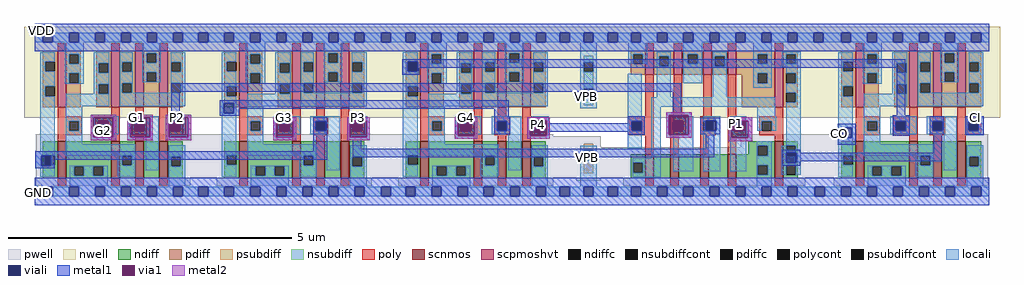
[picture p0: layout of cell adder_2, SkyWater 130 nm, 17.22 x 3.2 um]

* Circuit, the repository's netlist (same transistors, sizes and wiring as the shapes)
* NGSPICE file created from adder_2.ext - technology: sky130A

.subckt sky130_fd_sc_hd__a21o_1 A1 A2 B1 VGND VNB VPB VPWR X
X0 a_81_21# B1 VGND VNB sky130_fd_pr__nfet_01v8 ad=0.0894 pd=0.925 as=0.229 ps=1.57 w=0.65 l=0.15
**devattr s=10270,288 d=3575,185
X1 a_299_297# B1 a_81_21# VPB sky130_fd_pr__pfet_01v8_hvt ad=0.18 pd=1.69 as=0.26 ps=2.52 w=1 l=0.15
**devattr s=10400,504 d=5500,255
X2 VPWR a_81_21# X VPB sky130_fd_pr__pfet_01v8_hvt ad=0.18 pd=1.69 as=0.26 ps=2.52 w=1 l=0.15
**devattr s=10400,504 d=10400,504
X3 VPWR A1 a_299_297# VPB sky130_fd_pr__pfet_01v8_hvt ad=0.18 pd=1.69 as=0.18 ps=1.69 w=1 l=0.15
**devattr s=5500,255 d=5600,256
X4 VGND a_81_21# X VNB sky130_fd_pr__nfet_01v8 ad=0.229 pd=1.57 as=0.169 ps=1.82 w=0.65 l=0.15
**devattr s=6760,364 d=10270,288
X5 VGND A2 a_384_47# VNB sky130_fd_pr__nfet_01v8 ad=0.229 pd=1.57 as=0.091 ps=0.93 w=0.65 l=0.15
**devattr s=3640,186 d=6890,366
X6 a_299_297# A2 VPWR VPB sky130_fd_pr__pfet_01v8_hvt ad=0.18 pd=1.69 as=0.18 ps=1.69 w=1 l=0.15
**devattr s=5600,256 d=10600,506
X7 a_384_47# A1 a_81_21# VNB sky130_fd_pr__nfet_01v8 ad=0.091 pd=0.93 as=0.0894 ps=0.925 w=0.65 l=0.15
**devattr s=3575,185 d=3640,186
.ends

.subckt sky130_fd_sc_hd__and4_1 A B C D VGND VNB VPB VPWR X
X0 a_27_47# C VPWR VPB sky130_fd_pr__pfet_01v8_hvt ad=0.0662 pd=0.735 as=0.139 ps=0.987 w=0.42 l=0.15
**devattr s=3108,158 d=2352,140
X1 a_197_47# B a_109_47# VNB sky130_fd_pr__nfet_01v8 ad=0.0798 pd=0.8 as=0.0609 ps=0.71 w=0.42 l=0.15
**devattr s=2436,142 d=3192,160
X2 X a_27_47# VPWR VPB sky130_fd_pr__pfet_01v8_hvt ad=0.26 pd=2.52 as=0.332 ps=2.35 w=1 l=0.15
**devattr s=12498,336 d=10400,504
X3 a_303_47# C a_197_47# VNB sky130_fd_pr__nfet_01v8 ad=0.0693 pd=0.75 as=0.0798 ps=0.8 w=0.42 l=0.15
**devattr s=3192,160 d=2772,150
X4 a_27_47# A VPWR VPB sky130_fd_pr__pfet_01v8_hvt ad=0.0662 pd=0.735 as=0.139 ps=0.987 w=0.42 l=0.15
**devattr s=4368,272 d=2940,154
X5 VPWR D a_27_47# VPB sky130_fd_pr__pfet_01v8_hvt ad=0.139 pd=0.987 as=0.0662 ps=0.735 w=0.42 l=0.15
**devattr s=2352,140 d=12498,336
X6 VGND D a_303_47# VNB sky130_fd_pr__nfet_01v8 ad=0.154 pd=1.04 as=0.0693 ps=0.75 w=0.42 l=0.15
**devattr s=2772,150 d=7851,266
X7 VPWR B a_27_47# VPB sky130_fd_pr__pfet_01v8_hvt ad=0.139 pd=0.987 as=0.0662 ps=0.735 w=0.42 l=0.15
**devattr s=2940,154 d=3108,158
X8 X a_27_47# VGND VNB sky130_fd_pr__nfet_01v8 ad=0.169 pd=1.82 as=0.238 ps=1.62 w=0.65 l=0.15
**devattr s=7851,266 d=6760,364
X9 a_109_47# A a_27_47# VNB sky130_fd_pr__nfet_01v8 ad=0.0609 pd=0.71 as=0.109 ps=1.36 w=0.42 l=0.15
**devattr s=4368,272 d=2436,142
.ends

Xsky130_fd_sc_hd__a21o_1_0 G1 P2 G2 SUB SUB VPB VPB sky130_fd_sc_hd__a21o_1_0/X sky130_fd_sc_hd__a21o_1
Xsky130_fd_sc_hd__a21o_1_1 sky130_fd_sc_hd__a21o_1_0/X P3 G3 SUB SUB VPB VPB sky130_fd_sc_hd__a21o_1_1/X
+ sky130_fd_sc_hd__a21o_1
Xsky130_fd_sc_hd__a21o_1_2 sky130_fd_sc_hd__a21o_1_1/X P4 G4 SUB SUB VPB VPB sky130_fd_sc_hd__a21o_1_2/X
+ sky130_fd_sc_hd__a21o_1
Xsky130_fd_sc_hd__a21o_1_3 sky130_fd_sc_hd__and4_1_0/X CI sky130_fd_sc_hd__a21o_1_2/X
+ SUB SUB VPB VPB CO sky130_fd_sc_hd__a21o_1
Xsky130_fd_sc_hd__and4_1_0 P4 P2 P3 P1 SUB SUB VPB VPB sky130_fd_sc_hd__and4_1_0/X
+ sky130_fd_sc_hd__and4_1
.end

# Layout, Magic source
magic
tech sky130A
magscale 1 2
<< nwell >>
rect -50 269 -47 590
rect 566 269 597 590
rect 1213 269 1238 590
rect 2726 269 2780 590
<< pwell >>
rect 523 56 634 211
rect 1173 56 1273 211
rect 1809 56 1902 203
rect 1982 56 2067 165
rect 2703 56 2810 211
<< locali >>
rect 537 535 564 569
rect 600 535 634 569
rect 1172 535 1210 569
rect 1245 535 1271 569
rect 1812 535 1840 569
rect 1875 535 1897 569
rect 1986 535 2010 569
rect 2045 535 2064 569
rect 2700 535 2736 569
rect 2771 535 2810 569
rect 1300 467 1335 470
rect 1300 435 1305 467
rect 1748 250 1782 257
rect 1748 223 1750 250
rect -10 135 50 150
rect -10 100 10 135
rect 44 100 50 135
rect 2630 145 2685 150
rect 2630 110 2640 145
rect 2675 110 2685 145
rect 2630 100 2685 110
rect -10 90 50 100
rect 527 -9 565 25
rect 600 -9 634 25
rect 1173 -9 1210 25
rect 1245 -9 1272 25
rect 1813 -9 1840 25
rect 1875 -9 1897 25
rect 1982 -9 2010 25
rect 2045 -9 2067 25
rect 2698 -9 2740 25
rect 2776 -9 2809 25
<< viali >>
rect 564 535 600 569
rect 1210 535 1245 569
rect 1840 535 1875 569
rect 2010 535 2045 569
rect 2736 535 2771 569
rect 1305 433 1339 467
rect 655 285 690 320
rect 212 223 246 257
rect 340 223 374 257
rect 468 223 502 257
rect 852 223 886 257
rect 980 223 1014 257
rect 1108 223 1142 257
rect 1492 223 1526 257
rect 1620 223 1654 257
rect 1750 215 1785 250
rect 2095 223 2129 257
rect 2241 223 2275 257
rect 2356 223 2392 258
rect 2456 223 2491 257
rect 2836 198 2871 233
rect 3027 223 3062 257
rect 3156 223 3190 257
rect 3284 223 3318 257
rect 10 100 44 135
rect 2640 110 2675 145
rect 565 -9 600 25
rect 1210 -9 1245 25
rect 1840 -9 1875 25
rect 2010 -9 2045 25
rect 2740 -9 2776 25
<< metal1 >>
rect 534 569 635 600
rect 534 535 564 569
rect 600 535 635 569
rect 534 504 635 535
rect 1175 569 1273 600
rect 1175 535 1210 569
rect 1245 535 1273 569
rect 1175 504 1273 535
rect 1818 569 1897 600
rect 1818 535 1840 569
rect 1875 535 1897 569
rect 1818 504 1897 535
rect 1987 569 2065 600
rect 1987 535 2010 569
rect 2045 535 2065 569
rect 1987 504 2065 535
rect 2698 569 2811 600
rect 2698 535 2736 569
rect 2771 535 2811 569
rect 2698 504 2811 535
rect 1285 467 3060 475
rect 1285 433 1305 467
rect 1339 445 3060 467
rect 1339 433 1345 445
rect 1285 420 1345 433
rect 470 360 2270 390
rect 470 280 500 360
rect 640 320 1660 330
rect 640 285 655 320
rect 690 300 1660 320
rect 690 285 710 300
rect 185 270 275 280
rect 185 200 195 270
rect 265 200 275 270
rect 185 190 275 200
rect 315 270 405 280
rect 315 200 325 270
rect 395 200 405 270
rect 315 190 405 200
rect 450 270 540 280
rect 640 275 710 285
rect 1610 270 1660 300
rect 2240 288 2270 360
rect 2216 278 2306 288
rect 3030 278 3060 445
rect 450 200 460 270
rect 530 200 540 270
rect 450 190 540 200
rect 830 260 910 270
rect 830 200 840 260
rect 900 200 910 260
rect 830 190 910 200
rect 970 257 1020 270
rect 970 223 980 257
rect 1014 223 1020 257
rect 970 150 1020 223
rect 1090 260 1170 270
rect 1090 200 1100 260
rect 1160 200 1170 260
rect 1090 190 1170 200
rect 1470 260 1550 270
rect 1470 205 1480 260
rect 1540 205 1550 260
rect 1610 257 1665 270
rect 1610 223 1620 257
rect 1654 223 1665 257
rect 1610 210 1665 223
rect 1725 260 1805 270
rect 1470 195 1550 205
rect 1725 205 1735 260
rect 1795 250 1805 260
rect 2081 257 2141 273
rect 2081 250 2095 257
rect 1795 223 2095 250
rect 2129 223 2141 257
rect 1795 220 2141 223
rect 1795 205 1805 220
rect 2081 208 2141 220
rect 2216 208 2226 278
rect 2296 208 2306 278
rect 2336 258 2406 268
rect 2336 223 2356 258
rect 2392 223 2406 258
rect 2336 210 2406 223
rect 2435 258 2520 270
rect 1725 195 1805 205
rect 2216 198 2306 208
rect -10 135 1020 150
rect -10 100 10 135
rect 44 120 1020 135
rect 1110 160 1140 190
rect 2355 160 2385 210
rect 2435 198 2446 258
rect 2506 198 2520 258
rect 3016 257 3076 278
rect 2435 185 2520 198
rect 2821 233 2885 248
rect 2821 198 2836 233
rect 2871 198 2885 233
rect 3016 223 3027 257
rect 3062 223 3076 257
rect 3016 205 3076 223
rect 3146 257 3196 273
rect 3146 223 3156 257
rect 3190 223 3196 257
rect 3146 210 3196 223
rect 3271 257 3336 273
rect 3271 223 3284 257
rect 3318 223 3336 257
rect 2821 173 2885 198
rect 1110 130 2385 160
rect 2625 145 2690 155
rect 3160 145 3190 210
rect 3271 208 3336 223
rect 44 100 59 120
rect 2625 110 2640 145
rect 2675 115 3190 145
rect 2675 110 2690 115
rect 2625 100 2690 110
rect -10 90 59 100
rect 533 25 634 56
rect 533 -9 565 25
rect 600 -9 634 25
rect 533 -40 634 -9
rect 1176 25 1272 56
rect 1176 -9 1210 25
rect 1245 -9 1272 25
rect 1176 -40 1272 -9
rect 1818 25 1899 56
rect 1818 -9 1840 25
rect 1875 -9 1899 25
rect 1818 -40 1899 -9
rect 1983 25 2068 56
rect 1983 -9 2010 25
rect 2045 -9 2068 25
rect 1983 -40 2068 -9
rect 2703 25 2810 56
rect 2703 -9 2740 25
rect 2776 -9 2810 25
rect 2703 -40 2810 -9
<< via1 >>
rect 195 257 265 270
rect 195 223 212 257
rect 212 223 246 257
rect 246 223 265 257
rect 195 200 265 223
rect 325 257 395 270
rect 325 223 340 257
rect 340 223 374 257
rect 374 223 395 257
rect 325 200 395 223
rect 460 257 530 270
rect 460 223 468 257
rect 468 223 502 257
rect 502 223 530 257
rect 460 200 530 223
rect 840 257 900 260
rect 840 223 852 257
rect 852 223 886 257
rect 886 223 900 257
rect 840 200 900 223
rect 1100 257 1160 260
rect 1100 223 1108 257
rect 1108 223 1142 257
rect 1142 223 1160 257
rect 1100 200 1160 223
rect 1480 257 1540 260
rect 1480 223 1492 257
rect 1492 223 1526 257
rect 1526 223 1540 257
rect 1480 205 1540 223
rect 1735 250 1795 260
rect 1735 215 1750 250
rect 1750 215 1785 250
rect 1785 215 1795 250
rect 1735 205 1795 215
rect 2226 257 2296 278
rect 2226 223 2241 257
rect 2241 223 2275 257
rect 2275 223 2296 257
rect 2226 208 2296 223
rect 2446 257 2506 258
rect 2446 223 2456 257
rect 2456 223 2491 257
rect 2491 223 2506 257
rect 2446 198 2506 223
<< metal2 >>
rect 185 270 275 280
rect 185 200 195 270
rect 265 200 275 270
rect 185 190 275 200
rect 315 270 405 280
rect 315 200 325 270
rect 395 200 405 270
rect 315 190 405 200
rect 450 270 540 280
rect 2216 278 2306 288
rect 450 200 460 270
rect 530 200 540 270
rect 450 190 540 200
rect 830 260 910 270
rect 830 200 840 260
rect 900 200 910 260
rect 830 190 910 200
rect 1090 260 1170 270
rect 1090 200 1100 260
rect 1160 200 1170 260
rect 1090 190 1170 200
rect 1470 260 1550 270
rect 1470 205 1480 260
rect 1540 205 1550 260
rect 1470 195 1550 205
rect 1725 260 1805 270
rect 1725 205 1735 260
rect 1795 205 1805 260
rect 1725 195 1805 205
rect 2216 208 2226 278
rect 2296 208 2306 278
rect 2216 198 2306 208
rect 2435 258 2520 270
rect 2435 198 2446 258
rect 2506 198 2520 258
rect 2435 185 2520 198
use sky130_fd_sc_hd__a21o_1  sky130_fd_sc_hd__a21o_1_0
transform 1 0 -12 0 1 8
box -38 -48 590 592
use sky130_fd_sc_hd__a21o_1  sky130_fd_sc_hd__a21o_1_1
transform 1 0 628 0 1 8
box -38 -48 590 592
use sky130_fd_sc_hd__a21o_1  sky130_fd_sc_hd__a21o_1_2
transform 1 0 1268 0 1 8
box -38 -48 590 592
use sky130_fd_sc_hd__a21o_1  sky130_fd_sc_hd__a21o_1_3
transform 1 0 2804 0 1 8
box -38 -48 590 592
use sky130_fd_sc_hd__and4_1  sky130_fd_sc_hd__and4_1_0
transform 1 0 2064 0 1 8
box -38 -48 682 592
use sky130_fd_sc_hd__tapvpwrvgnd_1  sky130_fd_sc_hd__tapvpwrvgnd_1_0
transform 1 0 1896 0 1 8
box -38 -48 130 592
<< labels >>
flabel metal2 1130 270 1130 270 1 FreeSans 128 0 0 0 P3
port 6 n
flabel metal1 870 270 870 270 1 FreeSans 128 0 0 0 G3
port 7 n
flabel metal1 1510 270 1510 270 1 FreeSans 128 0 0 0 G4
port 9 n
flabel metal2 490 270 490 270 1 FreeSans 128 0 0 0 P2
port 4 n
flabel metal1 350 270 350 270 1 FreeSans 128 0 0 0 G1
port 3 n
flabel viali 230 225 230 225 1 FreeSans 128 0 0 0 G2
port 5 n
flabel metal1 3306 268 3306 268 1 FreeSans 128 0 0 0 CI
port 1 n
flabel metal1 2826 213 2826 213 1 FreeSans 128 0 0 0 CO
port 10 n
flabel via1 1765 245 1765 245 1 FreeSans 320 0 0 0 P4
port 8 n
flabel via1 2465 250 2465 250 1 FreeSans 160 0 0 0 P1
port 2 n
flabel metal1 s 10 575 10 575 1 FreeSans 320 0 0 0 VDD
port 11 n
flabel metal1 s 0 5 0 5 1 FreeSans 320 0 0 0 GND
port 12 n
flabel locali 1935 345 1935 345 1 FreeSans 320 0 0 0 VPB
flabel locali 1940 130 1940 130 1 FreeSans 320 0 0 0 VPB
<< end >>

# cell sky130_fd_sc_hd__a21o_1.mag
magic
tech sky130A
magscale 1 2
<< nwell >>
rect -38 261 590 582
<< pwell >>
rect 3 21 549 203
rect 29 -17 63 21
<< scnmos >>
rect 81 47 111 177
rect 269 47 299 177
rect 354 47 384 177
rect 440 47 470 177
<< scpmoshvt >>
rect 81 297 111 497
rect 269 297 299 497
rect 354 297 384 497
rect 440 297 470 497
<< ndiff >>
rect 29 129 81 177
rect 29 95 37 129
rect 71 95 81 129
rect 29 47 81 95
rect 111 89 269 177
rect 111 55 139 89
rect 173 55 207 89
rect 241 55 269 89
rect 111 47 269 55
rect 299 127 354 177
rect 299 93 309 127
rect 343 93 354 127
rect 299 47 354 93
rect 384 47 440 177
rect 470 123 523 177
rect 470 89 481 123
rect 515 89 523 123
rect 470 47 523 89
<< pdiff >>
rect 29 459 81 497
rect 29 425 37 459
rect 71 425 81 459
rect 29 371 81 425
rect 29 337 37 371
rect 71 337 81 371
rect 29 297 81 337
rect 111 485 163 497
rect 111 451 121 485
rect 155 451 163 485
rect 111 417 163 451
rect 111 383 121 417
rect 155 383 163 417
rect 111 297 163 383
rect 217 453 269 497
rect 217 419 225 453
rect 259 419 269 453
rect 217 379 269 419
rect 217 345 225 379
rect 259 345 269 379
rect 217 297 269 345
rect 299 457 354 497
rect 299 423 309 457
rect 343 423 354 457
rect 299 383 354 423
rect 299 349 309 383
rect 343 349 354 383
rect 299 297 354 349
rect 384 489 440 497
rect 384 455 395 489
rect 429 455 440 489
rect 384 421 440 455
rect 384 387 395 421
rect 429 387 440 421
rect 384 297 440 387
rect 470 457 523 497
rect 470 423 481 457
rect 515 423 523 457
rect 470 383 523 423
rect 470 349 481 383
rect 515 349 523 383
rect 470 297 523 349
<< ndiffc >>
rect 37 95 71 129
rect 139 55 173 89
rect 207 55 241 89
rect 309 93 343 127
rect 481 89 515 123
<< pdiffc >>
rect 37 425 71 459
rect 37 337 71 371
rect 121 451 155 485
rect 121 383 155 417
rect 225 419 259 453
rect 225 345 259 379
rect 309 423 343 457
rect 309 349 343 383
rect 395 455 429 489
rect 395 387 429 421
rect 481 423 515 457
rect 481 349 515 383
<< poly >>
rect 81 497 111 523
rect 269 497 299 523
rect 354 497 384 523
rect 440 497 470 523
rect 81 265 111 297
rect 269 265 299 297
rect 354 265 384 297
rect 440 265 470 297
rect 81 249 166 265
rect 81 215 122 249
rect 156 215 166 249
rect 81 199 166 215
rect 214 249 299 265
rect 214 215 224 249
rect 258 215 299 249
rect 214 199 299 215
rect 342 249 396 265
rect 342 215 352 249
rect 386 215 396 249
rect 342 199 396 215
rect 440 249 524 265
rect 440 215 480 249
rect 514 215 524 249
rect 440 199 524 215
rect 81 177 111 199
rect 269 177 299 199
rect 354 177 384 199
rect 440 177 470 199
rect 81 21 111 47
rect 269 21 299 47
rect 354 21 384 47
rect 440 21 470 47
<< polycont >>
rect 122 215 156 249
rect 224 215 258 249
rect 352 215 386 249
rect 480 215 514 249
<< locali >>
rect 0 527 29 561
rect 63 527 121 561
rect 155 527 213 561
rect 247 527 305 561
rect 339 527 397 561
rect 431 527 489 561
rect 523 527 552 561
rect 19 459 71 491
rect 19 425 37 459
rect 19 371 71 425
rect 105 485 173 527
rect 105 451 121 485
rect 155 451 173 485
rect 105 417 173 451
rect 105 383 121 417
rect 155 383 173 417
rect 105 381 173 383
rect 209 453 263 491
rect 209 419 225 453
rect 259 419 263 453
rect 19 337 37 371
rect 209 379 263 419
rect 209 345 225 379
rect 259 345 263 379
rect 19 129 71 337
rect 19 95 37 129
rect 109 301 263 345
rect 299 457 345 491
rect 299 423 309 457
rect 343 423 345 457
rect 299 383 345 423
rect 379 489 445 527
rect 379 455 395 489
rect 429 455 445 489
rect 379 421 445 455
rect 379 387 395 421
rect 429 387 445 421
rect 379 385 445 387
rect 479 457 531 491
rect 479 423 481 457
rect 515 423 531 457
rect 299 349 309 383
rect 343 349 345 383
rect 479 383 531 423
rect 479 349 481 383
rect 515 349 531 383
rect 299 301 531 349
rect 109 249 167 301
rect 109 215 122 249
rect 156 215 167 249
rect 109 167 167 215
rect 203 249 296 265
rect 203 215 224 249
rect 258 215 296 249
rect 203 203 296 215
rect 332 249 437 265
rect 332 215 352 249
rect 386 215 437 249
rect 332 203 437 215
rect 109 127 355 167
rect 19 53 71 95
rect 293 93 309 127
rect 343 93 355 127
rect 123 89 257 91
rect 123 55 139 89
rect 173 55 207 89
rect 241 55 257 89
rect 123 17 257 55
rect 293 53 355 93
rect 391 75 437 203
rect 473 249 533 265
rect 473 215 480 249
rect 514 215 533 249
rect 473 199 533 215
rect 473 123 531 163
rect 473 89 481 123
rect 515 89 531 123
rect 473 17 531 89
rect 0 -17 29 17
rect 63 -17 121 17
rect 155 -17 213 17
rect 247 -17 305 17
rect 339 -17 397 17
rect 431 -17 489 17
rect 523 -17 552 17
<< viali >>
rect 29 527 63 561
rect 121 527 155 561
rect 213 527 247 561
rect 305 527 339 561
rect 397 527 431 561
rect 489 527 523 561
rect 29 -17 63 17
rect 121 -17 155 17
rect 213 -17 247 17
rect 305 -17 339 17
rect 397 -17 431 17
rect 489 -17 523 17
<< metal1 >>
rect 0 561 552 592
rect 0 527 29 561
rect 63 527 121 561
rect 155 527 213 561
rect 247 527 305 561
rect 339 527 397 561
rect 431 527 489 561
rect 523 527 552 561
rect 0 496 552 527
rect 0 17 552 48
rect 0 -17 29 17
rect 63 -17 121 17
rect 155 -17 213 17
rect 247 -17 305 17
rect 339 -17 397 17
rect 431 -17 489 17
rect 523 -17 552 17
rect 0 -48 552 -17
<< labels >>
flabel locali s 489 221 523 255 0 FreeSans 200 0 0 0 A2
port 2 nsew signal input
flabel locali s 397 85 431 119 0 FreeSans 200 0 0 0 A1
port 1 nsew signal input
flabel locali s 397 153 431 187 0 FreeSans 200 0 0 0 A1
port 1 nsew signal input
flabel locali s 397 221 431 255 0 FreeSans 200 0 0 0 A1
port 1 nsew signal input
flabel locali s 213 221 247 255 0 FreeSans 200 0 0 0 B1
port 3 nsew signal input
flabel locali s 29 85 63 119 0 FreeSans 200 0 0 0 X
port 8 nsew signal output
flabel locali s 29 425 63 459 0 FreeSans 200 0 0 0 X
port 8 nsew signal output
flabel locali s 29 357 63 391 0 FreeSans 200 0 0 0 X
port 8 nsew signal output
flabel locali s 29 289 63 323 0 FreeSans 200 0 0 0 X
port 8 nsew signal output
flabel locali s 29 221 63 255 0 FreeSans 200 0 0 0 X
port 8 nsew signal output
flabel locali s 29 153 63 187 0 FreeSans 200 0 0 0 X
port 8 nsew signal output
flabel metal1 s 29 527 63 561 0 FreeSans 200 0 0 0 VPWR
port 7 nsew power bidirectional abutment
flabel metal1 s 29 -17 63 17 0 FreeSans 200 0 0 0 VGND
port 4 nsew ground bidirectional abutment
flabel nwell s 29 527 63 561 0 FreeSans 200 0 0 0 VPB
port 6 nsew power bidirectional
flabel pwell s 29 -17 63 17 0 FreeSans 200 0 0 0 VNB
port 5 nsew ground bidirectional
rlabel comment s 0 0 0 0 4 a21o_1
rlabel metal1 s 0 -48 552 48 1 VGND
port 4 nsew ground bidirectional abutment
rlabel metal1 s 0 496 552 592 1 VPWR
port 7 nsew power bidirectional abutment
<< properties >>
string FIXED_BBOX 0 0 552 544
string GDS_END 4032046
string GDS_FILE $PDKPATH/libs.ref/sky130_fd_sc_hd/gds/sky130_fd_sc_hd.gds
string GDS_START 4026056
string LEFclass CORE
string LEFsite unithd
string LEFsymmetry X Y R90
string path 0.000 13.600 13.800 13.600 
<< end >>

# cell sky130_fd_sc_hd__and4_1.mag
magic
tech sky130A
magscale 1 2
<< nwell >>
rect -38 261 682 582
<< pwell >>
rect 416 157 643 203
rect 1 21 643 157
rect 29 -17 63 21
<< scnmos >>
rect 79 47 109 131
rect 167 47 197 131
rect 273 47 303 131
rect 369 47 399 131
rect 535 47 565 177
<< scpmoshvt >>
rect 79 413 109 497
rect 179 413 209 497
rect 283 413 313 497
rect 369 413 399 497
rect 535 297 565 497
<< ndiff >>
rect 442 161 535 177
rect 442 131 476 161
rect 27 101 79 131
rect 27 67 35 101
rect 69 67 79 101
rect 27 47 79 67
rect 109 47 167 131
rect 197 47 273 131
rect 303 47 369 131
rect 399 127 476 131
rect 510 127 535 161
rect 399 93 535 127
rect 399 59 476 93
rect 510 59 535 93
rect 399 47 535 59
rect 565 161 617 177
rect 565 127 575 161
rect 609 127 617 161
rect 565 93 617 127
rect 565 59 575 93
rect 609 59 617 93
rect 565 47 617 59
<< pdiff >>
rect 27 485 79 497
rect 27 451 35 485
rect 69 451 79 485
rect 27 413 79 451
rect 109 477 179 497
rect 109 443 127 477
rect 161 443 179 477
rect 109 413 179 443
rect 209 485 283 497
rect 209 451 229 485
rect 263 451 283 485
rect 209 413 283 451
rect 313 477 369 497
rect 313 443 324 477
rect 358 443 369 477
rect 313 413 369 443
rect 399 485 535 497
rect 399 451 475 485
rect 509 451 535 485
rect 399 417 535 451
rect 399 413 475 417
rect 418 383 475 413
rect 509 383 535 417
rect 418 297 535 383
rect 565 485 617 497
rect 565 451 575 485
rect 609 451 617 485
rect 565 417 617 451
rect 565 383 575 417
rect 609 383 617 417
rect 565 349 617 383
rect 565 315 575 349
rect 609 315 617 349
rect 565 297 617 315
<< ndiffc >>
rect 35 67 69 101
rect 476 127 510 161
rect 476 59 510 93
rect 575 127 609 161
rect 575 59 609 93
<< pdiffc >>
rect 35 451 69 485
rect 127 443 161 477
rect 229 451 263 485
rect 324 443 358 477
rect 475 451 509 485
rect 475 383 509 417
rect 575 451 609 485
rect 575 383 609 417
rect 575 315 609 349
<< poly >>
rect 79 497 109 523
rect 179 497 209 523
rect 283 497 313 523
rect 369 497 399 523
rect 535 497 565 523
rect 79 265 109 413
rect 179 265 209 413
rect 283 265 313 413
rect 369 265 399 413
rect 535 265 565 297
rect 21 249 109 265
rect 21 215 31 249
rect 65 215 109 249
rect 21 199 109 215
rect 79 131 109 199
rect 167 249 221 265
rect 167 215 177 249
rect 211 215 221 249
rect 167 199 221 215
rect 273 249 327 265
rect 273 215 283 249
rect 317 215 327 249
rect 273 199 327 215
rect 369 249 433 265
rect 369 215 379 249
rect 413 215 433 249
rect 369 199 433 215
rect 480 249 565 265
rect 480 215 490 249
rect 524 215 565 249
rect 480 199 565 215
rect 167 131 197 199
rect 273 131 303 199
rect 369 131 399 199
rect 535 177 565 199
rect 79 21 109 47
rect 167 21 197 47
rect 273 21 303 47
rect 369 21 399 47
rect 535 21 565 47
<< polycont >>
rect 31 215 65 249
rect 177 215 211 249
rect 283 215 317 249
rect 379 215 413 249
rect 490 215 524 249
<< locali >>
rect 0 527 29 561
rect 63 527 121 561
rect 155 527 213 561
rect 247 527 305 561
rect 339 527 397 561
rect 431 527 489 561
rect 523 527 581 561
rect 615 527 644 561
rect 18 485 85 527
rect 18 451 35 485
rect 69 451 85 485
rect 119 477 169 493
rect 119 443 127 477
rect 161 443 169 477
rect 17 249 65 415
rect 119 333 169 443
rect 213 485 279 527
rect 213 451 229 485
rect 263 451 279 485
rect 213 383 279 451
rect 316 477 366 493
rect 316 443 324 477
rect 358 443 366 477
rect 316 333 366 443
rect 459 485 525 527
rect 459 451 475 485
rect 509 451 525 485
rect 459 417 525 451
rect 559 485 627 493
rect 559 451 575 485
rect 609 451 627 485
rect 559 441 627 451
rect 459 383 475 417
rect 509 383 525 417
rect 459 367 525 383
rect 575 417 627 441
rect 609 383 627 417
rect 575 349 627 383
rect 17 215 31 249
rect 17 153 65 215
rect 99 299 537 333
rect 99 117 133 299
rect 474 265 537 299
rect 609 315 627 349
rect 34 101 133 117
rect 34 67 35 101
rect 69 67 133 101
rect 177 249 247 265
rect 211 215 247 249
rect 177 72 247 215
rect 283 249 343 265
rect 317 215 343 249
rect 283 71 343 215
rect 379 249 435 265
rect 413 215 435 249
rect 474 249 540 265
rect 474 215 490 249
rect 524 215 540 249
rect 379 71 435 215
rect 471 161 525 177
rect 575 161 627 315
rect 471 127 476 161
rect 510 127 525 161
rect 471 93 525 127
rect 34 51 133 67
rect 471 59 476 93
rect 510 59 525 93
rect 559 127 575 161
rect 609 127 627 161
rect 559 93 627 127
rect 559 59 575 93
rect 609 59 627 93
rect 471 17 525 59
rect 0 -17 29 17
rect 63 -17 121 17
rect 155 -17 213 17
rect 247 -17 305 17
rect 339 -17 397 17
rect 431 -17 489 17
rect 523 -17 581 17
rect 615 -17 644 17
<< viali >>
rect 29 527 63 561
rect 121 527 155 561
rect 213 527 247 561
rect 305 527 339 561
rect 397 527 431 561
rect 489 527 523 561
rect 581 527 615 561
rect 29 -17 63 17
rect 121 -17 155 17
rect 213 -17 247 17
rect 305 -17 339 17
rect 397 -17 431 17
rect 489 -17 523 17
rect 581 -17 615 17
<< metal1 >>
rect 0 561 644 592
rect 0 527 29 561
rect 63 527 121 561
rect 155 527 213 561
rect 247 527 305 561
rect 339 527 397 561
rect 431 527 489 561
rect 523 527 581 561
rect 615 527 644 561
rect 0 496 644 527
rect 0 17 644 48
rect 0 -17 29 17
rect 63 -17 121 17
rect 155 -17 213 17
rect 247 -17 305 17
rect 339 -17 397 17
rect 431 -17 489 17
rect 523 -17 581 17
rect 615 -17 644 17
rect 0 -48 644 -17
<< labels >>
flabel locali s 581 425 615 459 0 FreeSans 200 0 0 0 X
port 9 nsew signal output
flabel locali s 305 85 339 119 0 FreeSans 200 0 0 0 C
port 3 nsew signal input
flabel locali s 305 153 339 187 0 FreeSans 200 0 0 0 C
port 3 nsew signal input
flabel locali s 29 221 63 255 0 FreeSans 200 0 0 0 A
port 1 nsew signal input
flabel locali s 305 221 339 255 0 FreeSans 200 0 0 0 C
port 3 nsew signal input
flabel locali s 213 85 247 119 0 FreeSans 200 0 0 0 B
port 2 nsew signal input
flabel locali s 213 153 247 187 0 FreeSans 200 0 0 0 B
port 2 nsew signal input
flabel locali s 397 221 431 255 0 FreeSans 200 0 0 0 D
port 4 nsew signal input
flabel locali s 581 85 615 119 0 FreeSans 200 0 0 0 X
port 9 nsew signal output
flabel locali s 581 153 615 187 0 FreeSans 200 0 0 0 X
port 9 nsew signal output
flabel locali s 581 221 615 255 0 FreeSans 200 0 0 0 X
port 9 nsew signal output
flabel locali s 581 289 615 323 0 FreeSans 200 0 0 0 X
port 9 nsew signal output
flabel locali s 581 357 615 391 0 FreeSans 200 0 0 0 X
port 9 nsew signal output
flabel metal1 s 29 -17 63 17 0 FreeSans 200 0 0 0 VGND
port 5 nsew ground bidirectional abutment
flabel metal1 s 29 527 63 561 0 FreeSans 200 0 0 0 VPWR
port 8 nsew power bidirectional abutment
flabel nwell s 29 527 63 561 0 FreeSans 200 0 0 0 VPB
port 7 nsew power bidirectional
flabel pwell s 29 -17 63 17 0 FreeSans 200 0 0 0 VNB
port 6 nsew ground bidirectional
rlabel comment s 0 0 0 0 4 and4_1
rlabel metal1 s 0 -48 644 48 1 VGND
port 5 nsew ground bidirectional abutment
rlabel metal1 s 0 496 644 592 1 VPWR
port 8 nsew power bidirectional abutment
<< properties >>
string FIXED_BBOX 0 0 644 544
string GDS_END 3904402
string GDS_FILE $PDKPATH/libs.ref/sky130_fd_sc_hd/gds/sky130_fd_sc_hd.gds
string GDS_START 3898048
string LEFclass CORE
string LEFsite unithd
string LEFsymmetry X Y R90
string path 0.000 0.000 16.100 0.000 
<< end >>

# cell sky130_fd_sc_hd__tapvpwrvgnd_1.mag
magic
tech sky130A
magscale 1 2
<< nwell >>
rect -38 261 130 582
<< pwell >>
rect 3 38 89 195
<< psubdiff >>
rect 29 145 63 169
rect 29 64 63 111
<< nsubdiff >>
rect 29 456 63 480
rect 29 363 63 422
rect 29 305 63 329
<< psubdiffcont >>
rect 29 111 63 145
<< nsubdiffcont >>
rect 29 422 63 456
rect 29 329 63 363
<< locali >>
rect 0 527 29 561
rect 63 527 92 561
rect 17 456 75 527
rect 17 422 29 456
rect 63 422 75 456
rect 17 363 75 422
rect 17 329 29 363
rect 63 329 75 363
rect 17 294 75 329
rect 17 145 75 162
rect 17 111 29 145
rect 63 111 75 145
rect 17 17 75 111
rect 0 -17 29 17
rect 63 -17 92 17
<< viali >>
rect 29 527 63 561
rect 29 -17 63 17
<< metal1 >>
rect 0 561 92 592
rect 0 527 29 561
rect 63 527 92 561
rect 0 496 92 527
rect 0 17 92 48
rect 0 -17 29 17
rect 63 -17 92 17
rect 0 -48 92 -17
<< labels >>
flabel metal1 s 22 524 75 553 0 FreeSans 200 0 0 0 VPWR
port 2 nsew power bidirectional abutment
flabel metal1 s 21 -18 72 20 0 FreeSans 200 0 0 0 VGND
port 1 nsew ground bidirectional abutment
rlabel comment s 0 0 0 0 4 tapvpwrvgnd_1
rlabel metal1 s 0 -48 92 48 1 VGND
port 1 nsew ground bidirectional abutment
rlabel metal1 s 0 496 92 592 1 VPWR
port 2 nsew power bidirectional abutment
<< properties >>
string FIXED_BBOX 0 0 92 544
string GDS_END 626290
string GDS_FILE $PDKPATH/libs.ref/sky130_fd_sc_hd/gds/sky130_fd_sc_hd.gds
string GDS_START 624670
string LEFclass CORE WELLTAP
string LEFsite unithd
string LEFsymmetry X Y R90
string MASKHINTS_PSDM 0 38 92 195
string MASKHINTS_NSDM 0 279 92 506
<< end >>
